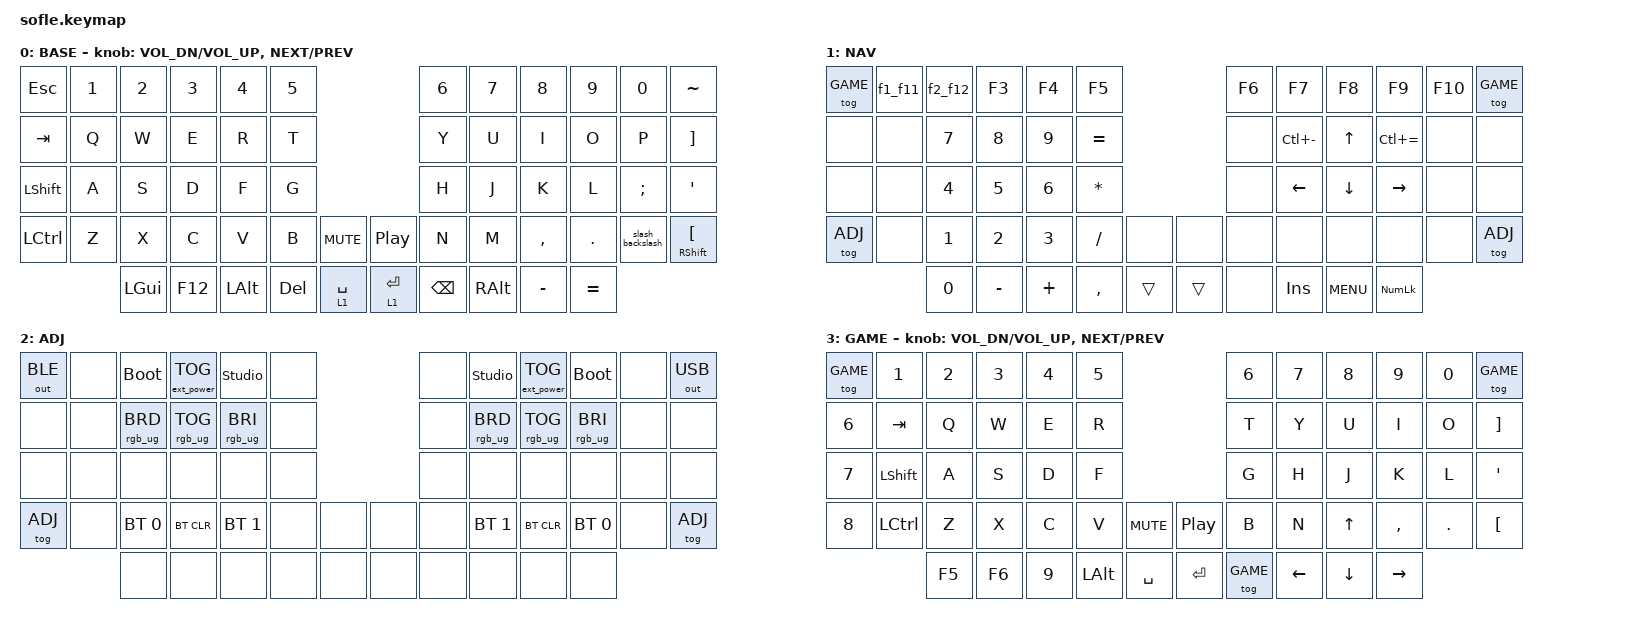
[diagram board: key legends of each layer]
#include <behaviors.dtsi>
#include <dt-bindings/zmk/bt.h>
#include <dt-bindings/zmk/ext_power.h>
#include <dt-bindings/zmk/keys.h>
#include <dt-bindings/zmk/rgb.h>
#include <dt-bindings/zmk/outputs.h>

#define BASE 0
#define NAV 1
#define ADJ 2
#define GAME 3

&lt {
    tapping-term-ms = <280>;
    quick-tap-ms = <175>;
    require-prior-idle-ms = <150>;
    flavor = "balanced";
};

&mt {
    tapping-term-ms = <280>;
    quick-tap-ms = <175>;
    require-prior-idle-ms = <150>;
    flavor = "balanced";
};

/ {
    left_encoder: encoder_left {
        compatible = "alps,ec11";
        a-gpios = <&pro_micro 21 (GPIO_ACTIVE_HIGH | GPIO_PULL_UP)>;
        b-gpios = <&pro_micro 20 (GPIO_ACTIVE_HIGH | GPIO_PULL_UP)>;
        steps = <60>;
    };

    right_encoder: encoder_right {
        compatible = "alps,ec11";
        a-gpios = <&pro_micro 21 (GPIO_ACTIVE_HIGH | GPIO_PULL_UP)>;
        b-gpios = <&pro_micro 20 (GPIO_ACTIVE_HIGH | GPIO_PULL_UP)>;
        steps = <60>;
    };

    sensors {
        compatible = "zmk,keymap-sensors";
        sensors = <&left_encoder &right_encoder>;
        triggers-per-rotation = <30>;
    };
};

/ {
    combos {
        compatible = "zmk,combos";

        r_esc {
            bindings = <&kp ESC>;
            key-positions = <31 32 33>;
            layers = <BASE GAME>;
        };

        l_esc {
            bindings = <&kp ESC>;
            key-positions = <26 27 28>;
            layers = <BASE>;
        };

        switch_input {
            bindings = <&kp LS(LALT)>;
            key-positions = <54 55>;
            layers = <BASE>;
        };
    };

    behaviors {
        f1_f11: F11_tap_dance {
            compatible = "zmk,behavior-tap-dance";
            #binding-cells = <0>;
            bindings = <&kp F1>, <&kp F11>;
        };

        f2_f12: F12_tap_dance {
            compatible = "zmk,behavior-tap-dance";
            #binding-cells = <0>;
            bindings = <&kp F2>, <&kp F12>;
        };

        slash_backslash: slash_tap_dance {
            compatible = "zmk,behavior-tap-dance";
            #binding-cells = <0>;
            bindings = <&kp FSLH>, <&kp BACKSLASH>;
        };
    };

    keymap {
        compatible = "zmk,keymap";

        BASE {
            display-name = "BASE";
            bindings = <
&kp ESC         &kp N1  &kp N2    &kp N3     &kp N4        &kp N5                                    &kp N6         &kp N7        &kp N8     &kp N9     &kp N0            &kp TILDE
&kp TAB         &kp Q   &kp W     &kp E      &kp R         &kp T                                     &kp Y          &kp U         &kp I      &kp O      &kp P             &kp RIGHT_BRACKET
&kp LSHFT       &kp A   &kp S     &kp D      &kp F         &kp G                                     &kp H          &kp J         &kp K      &kp L      &kp SEMI          &kp SQT
&kp LCTRL       &kp Z   &kp X     &kp C      &kp V         &kp B    &kp C_MUTE     &kp C_PP          &kp N          &kp M         &kp COMMA  &kp DOT    &slash_backslash  &mt RSHFT LEFT_BRACKET
                        &kp LGUI  &kp F12    &kp LALT      &kp DEL  &lt 1 SPACE    &lt 1 ENTER       &kp BACKSPACE  &kp RALT      &kp MINUS  &kp EQUAL
            >;

            sensor-bindings =
                <&inc_dec_kp C_VOL_DN C_VOL_UP>,
                <&inc_dec_kp C_NEXT C_PREV>;
        };

        NAV {
            display-name = "NAV";
            bindings = <
&tog GAME   &f1_f11         &f2_f12         &kp F3       &kp F4     &kp F5                        &kp F6  &kp F7            &kp F8                &kp F9             &kp F10  &tog GAME
&none       &none           &kp N7          &kp N8       &kp N9     &kp EQUAL                     &none   &kp LC(MINUS)     &kp UP                &kp LC(EQUAL)      &none    &none
&none       &none           &kp N4          &kp N5       &kp N6     &kp STAR                      &none   &kp LEFT          &kp DOWN              &kp RIGHT          &none    &none
&tog ADJ    &none           &kp N1          &kp N2       &kp N3     &kp FSLH    &none     &none   &none   &none             &none                 &none              &none    &tog ADJ
                            &kp N0          &kp MINUS    &kp PLUS   &kp COMMA   &trans    &trans  &none   &kp INSERT        &kp C_MENU            &kp KP_NUM
            >;
        };

        ADJ {
            display-name = "ADJ";
            bindings = <
&out OUT_BLE    &none  &bootloader        &ext_power EP_TOG     &studio_unlock       &none                      &none      &studio_unlock      &ext_power EP_TOG      &bootloader         &none     &out OUT_USB
&none           &none  &rgb_ug RGB_BRD    &rgb_ug RGB_TOG       &rgb_ug RGB_BRI      &none                      &none      &rgb_ug RGB_BRD     &rgb_ug RGB_TOG        &rgb_ug RGB_BRI     &none     &none
&none           &none  &none              &none                 &none                &none                      &none      &none               &none                  &none               &none     &none
&tog ADJ        &none  &bt BT_SEL 0       &bt BT_CLR            &bt BT_SEL 1         &none    &none    &none    &none      &bt BT_SEL 1        &bt BT_CLR             &bt BT_SEL 0        &none     &tog ADJ
                       &none              &none                 &none                &none    &none    &none    &none      &none               &none                  &none
            >;
        };

        GAME {
            display-name = "GAME";
            bindings = <
&tog GAME    &kp N1       &kp N2     &kp N3     &kp N4    &kp N5                                     &kp N6        &kp N7       &kp N8       &kp N9        &kp N0      &tog GAME
&kp N6       &kp TAB      &kp Q      &kp W      &kp E     &kp R                                      &kp T         &kp Y        &kp U        &kp I         &kp O       &kp RIGHT_BRACKET
&kp N7       &kp LSHFT    &kp A      &kp S      &kp D     &kp F                                      &kp G         &kp H        &kp J        &kp K         &kp L       &kp SQT
&kp N8       &kp LCTRL    &kp Z      &kp X      &kp C     &kp V        &kp C_MUTE    &kp C_PP        &kp B         &kp N        &kp UP       &kp COMMA     &kp DOT     &kp LEFT_BRACKET
                          &kp F5     &kp F6     &kp N9    &kp LALT     &kp SPACE     &kp ENTER       &tog GAME     &kp LEFT     &kp DOWN     &kp RIGHT     
            >;

            sensor-bindings =
                <&inc_dec_kp C_VOL_DN C_VOL_UP>,
                <&inc_dec_kp C_NEXT C_PREV>;
        };
    };
};
